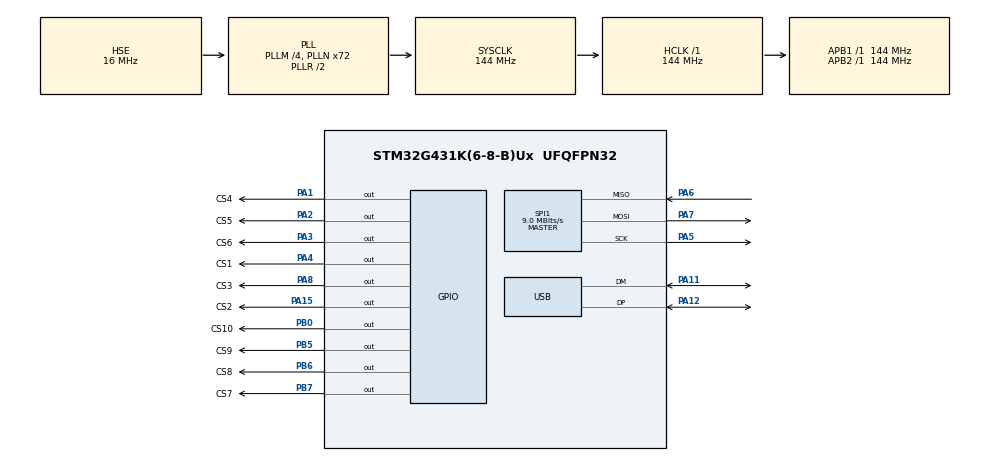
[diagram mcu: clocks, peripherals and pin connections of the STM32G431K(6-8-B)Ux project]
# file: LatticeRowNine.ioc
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Mcu.Family=STM32G4
Mcu.Name=STM32G431K(6-8-B)Ux
Mcu.Package=UFQFPN32
NVIC.PriorityGroup=NVIC_PRIORITYGROUP_4
NVIC.USB_LP_IRQn=true\:0\:0\:false\:false\:true\:false\:true\:true
PA1.GPIO_Label=CS4
PA1.GPIO_Speed=GPIO_SPEED_FREQ_VERY_HIGH
PA1.PinState=GPIO_PIN_SET
PA1.Signal=GPIO_Output
PA11.Mode=Device
PA11.Signal=USB_DM
PA12.Mode=Device
PA12.Signal=USB_DP
PA13.Mode=Trace_Asynchronous_SW
PA13.Signal=SYS_JTMS-SWDIO
PA14.Mode=Trace_Asynchronous_SW
PA14.Signal=SYS_JTCK-SWCLK
PA15.GPIO_Label=CS2
PA15.GPIO_Speed=GPIO_SPEED_FREQ_VERY_HIGH
PA15.PinState=GPIO_PIN_SET
PA15.Signal=GPIO_Output
PA2.GPIO_Label=CS5
PA2.GPIO_Speed=GPIO_SPEED_FREQ_VERY_HIGH
PA2.PinState=GPIO_PIN_SET
PA2.Signal=GPIO_Output
PA3.GPIO_Label=CS6
PA3.GPIO_Speed=GPIO_SPEED_FREQ_VERY_HIGH
PA3.PinState=GPIO_PIN_SET
PA3.Signal=GPIO_Output
PA4.GPIO_Label=CS1
PA4.GPIO_Speed=GPIO_SPEED_FREQ_VERY_HIGH
PA4.PinState=GPIO_PIN_SET
PA4.Signal=GPIO_Output
PA5.GPIO_Speed=GPIO_SPEED_FREQ_VERY_HIGH
PA5.Mode=Full_Duplex_Master
PA5.Signal=SPI1_SCK
PA6.GPIO_Speed=GPIO_SPEED_FREQ_VERY_HIGH
PA6.Mode=Full_Duplex_Master
PA6.Signal=SPI1_MISO
PA7.GPIO_Speed=GPIO_SPEED_FREQ_VERY_HIGH
PA7.Mode=Full_Duplex_Master
PA7.Signal=SPI1_MOSI
PA8.GPIO_Label=CS3
PA8.GPIO_Speed=GPIO_SPEED_FREQ_VERY_HIGH
PA8.PinState=GPIO_PIN_SET
PA8.Signal=GPIO_Output
PB0.GPIO_Label=CS10
PB0.GPIO_Speed=GPIO_SPEED_FREQ_VERY_HIGH
PB0.PinState=GPIO_PIN_SET
PB0.Signal=GPIO_Output
PB3.Mode=Trace_Asynchronous_SW
PB3.Signal=SYS_JTDO-SWO
PB5.GPIO_Label=CS9
PB5.GPIO_Speed=GPIO_SPEED_FREQ_VERY_HIGH
PB5.PinState=GPIO_PIN_SET
PB5.Signal=GPIO_Output
PB6.GPIO_Label=CS8
PB6.GPIO_Speed=GPIO_SPEED_FREQ_VERY_HIGH
PB6.PinState=GPIO_PIN_SET
PB6.Signal=GPIO_Output
PB7.GPIO_Label=CS7
PB7.GPIO_Speed=GPIO_SPEED_FREQ_VERY_HIGH
PB7.PinState=GPIO_PIN_SET
PB7.Signal=GPIO_Output
PF0-OSC_IN.Mode=HSE-External-Oscillator
PF0-OSC_IN.Signal=RCC_OSC_IN
PF1-OSC_OUT.Mode=HSE-External-Oscillator
PF1-OSC_OUT.Signal=RCC_OSC_OUT
ProjectManager.HeapSize=0x200
ProjectManager.StackSize=0x400
ProjectManager.TargetToolchain=STM32CubeIDE
RCC.ADC12Freq_Value=144000000
RCC.AHBFreq_Value=144000000
RCC.APB1Freq_Value=144000000
RCC.APB1TimFreq_Value=144000000
RCC.APB2Freq_Value=144000000
RCC.APB2TimFreq_Value=144000000
RCC.CortexFreq_Value=144000000
RCC.EXTERNAL_CLOCK_VALUE=12288000
RCC.HCLKFreq_Value=144000000
RCC.HSE_VALUE=16000000
RCC.HSI48_VALUE=48000000
RCC.HSI_VALUE=16000000
RCC.LSE_VALUE=32768
RCC.PLLM=RCC_PLLM_DIV4
RCC.PLLN=72
RCC.PLLQ=RCC_PLLQ_DIV6
RCC.PLLSourceVirtual=RCC_PLLSOURCE_HSE
RCC.SYSCLKFreq_VALUE=144000000
RCC.SYSCLKSource=RCC_SYSCLKSOURCE_PLLCLK
RCC.USBFreq_Value=48000000
RCC.VCOOutputFreq_Value=288000000
SPI1.BaudRatePrescaler=SPI_BAUDRATEPRESCALER_16
SPI1.CalculateBaudRate=9.0 MBits/s
SPI1.DataSize=SPI_DATASIZE_8BIT
SPI1.Direction=SPI_DIRECTION_2LINES
SPI1.Mode=SPI_MODE_MASTER
SPI1.VirtualType=VM_MASTER
USB_DEVICE.CLASS_NAME_FS=CDC
USB_DEVICE.PRODUCT_STRING_CDC_FS=lattice-row-nine
USB_DEVICE.VirtualMode=Cdc
USB_DEVICE.VirtualModeFS=Cdc_FS
VP_SYS_VS_DBSignals.Mode=DisableDeadBatterySignals
VP_USB_DEVICE_VS_USB_DEVICE_CDC_FS.Mode=CDC_FS
board=custom

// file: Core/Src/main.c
/* USER CODE BEGIN Header */
/**
 ******************************************************************************
 * @file           : main.c
 * @brief          : Main program body
 ******************************************************************************
 * @attention
 *
 * Copyright (c) 2024 STMicroelectronics.
 * All rights reserved.
 *
 * This software is licensed under terms that can be found in the LICENSE file
 * in the root directory of this software component.
 * If no LICENSE file comes with this software, it is provided AS-IS.
 *
 ******************************************************************************
 */
/* USER CODE END Header */
#include "main.h"
#include "usb_device.h"

/* USER CODE BEGIN Includes */
#include "usbd_cdc_if.h"
#include "string.h"
/* USER CODE END Includes */

SPI_HandleTypeDef hspi1;

void SystemClock_Config(void);
static void MX_GPIO_Init(void);
static void MX_SPI1_Init(void);

/* USER CODE BEGIN 0 */
#define LPS22HH_ADDRESS            0xBA

#define LPS22HH_DEVICE_NAME        0b10110011

#define LPS22HH_REG_IF_CTRL        0x0E
#define LPS22HH_REG_WHO_AM_I       0x0F
#define LPS22HH_REG_CTRL_REG1      0x10
#define LPS22HH_REG_CTRL_REG2      0x11
#define LPS22HH_REG_CTRL_REG3      0x12
#define LPS22HH_REG_STATUS         0x27
#define LPS22HH_REG_PRESS_OUT_XL   0x28
#define LPS22HH_REG_PRESS_OUT_L    0x29
#define LPS22HH_REG_PRESS_OUT_H    0x2A
#define LPS22HH_REG_TEMP_OUT_L     0x2B
#define LPS22HH_REG_TEMP_OUT_H     0x2C

GPIO_TypeDef *chipSelectPorts[10] = { CS1_GPIO_Port, CS2_GPIO_Port,
CS3_GPIO_Port, CS4_GPIO_Port, CS5_GPIO_Port, CS6_GPIO_Port,
CS7_GPIO_Port,
CS8_GPIO_Port, CS9_GPIO_Port, CS10_GPIO_Port };
uint16_t chipSelectsPins[10] = { CS1_Pin, CS2_Pin, CS3_Pin, CS4_Pin,
CS5_Pin, CS6_Pin, CS7_Pin, CS8_Pin, CS9_Pin, CS10_Pin };

void LPS22HH_WriteReg(uint16_t sel, uint8_t reg, uint8_t data) {
	HAL_GPIO_WritePin(chipSelectPorts[sel], chipSelectsPins[sel],
			GPIO_PIN_RESET);
	HAL_SPI_Transmit(&hspi1, &reg, 1, HAL_MAX_DELAY);
	HAL_SPI_Transmit(&hspi1, &data, 1, HAL_MAX_DELAY);
	HAL_GPIO_WritePin(chipSelectPorts[sel], chipSelectsPins[sel], GPIO_PIN_SET);
}

uint8_t LPS22HH_ReadReg(uint16_t sel, uint8_t reg) {
	uint8_t data = 0;
	uint8_t regRW = 0x80 | reg;
	HAL_GPIO_WritePin(chipSelectPorts[sel], chipSelectsPins[sel],
			GPIO_PIN_RESET);
	HAL_SPI_Transmit(&hspi1, &regRW, 1, HAL_MAX_DELAY);
	HAL_SPI_Receive(&hspi1, &data, 1, HAL_MAX_DELAY);
	HAL_GPIO_WritePin(chipSelectPorts[sel], chipSelectsPins[sel], GPIO_PIN_SET);
	return data;
}

void LPS22HH_ReadRegs(uint16_t sel, uint8_t reg, uint8_t *output, uint16_t len) {
	uint8_t regRW = 0x80 | reg;
	HAL_GPIO_WritePin(chipSelectPorts[sel], chipSelectsPins[sel],
			GPIO_PIN_RESET);
	HAL_SPI_Transmit(&hspi1, &regRW, 1, HAL_MAX_DELAY);
	HAL_SPI_Receive(&hspi1, output, len, HAL_MAX_DELAY);
	HAL_GPIO_WritePin(chipSelectPorts[sel], chipSelectsPins[sel], GPIO_PIN_SET);
}
/* USER CODE END 0 */

int main(void)
{

  /* MCU Configuration--------------------------------------------------------*/

  /* Reset of all peripherals, Initializes the Flash interface and the Systick. */
  HAL_Init();

  /* Configure the system clock */
  SystemClock_Config();

  /* Initialize all configured peripherals */
  MX_GPIO_Init();
  MX_SPI1_Init();
  MX_USB_Device_Init();
  /* USER CODE BEGIN 2 */
	HAL_Delay(100);

	for (uint8_t cs = 0; cs < 10; cs++) {
		uint8_t who_am_i = LPS22HH_ReadReg(cs, LPS22HH_REG_WHO_AM_I);
		if (who_am_i != LPS22HH_DEVICE_NAME) {
			while (1) {
			}
		}

		//configure ODR 200hz
		//disable low pass filter
		LPS22HH_WriteReg(cs, LPS22HH_REG_CTRL_REG1, 0b01110000);
	}
  /* USER CODE END 2 */

  /* Infinite loop */
  /* USER CODE BEGIN WHILE */
	while (1) {
		uint8_t data[50];
		for (uint8_t cs = 0; cs < 10; cs++) {
			uint16_t index = 5 * cs;
			LPS22HH_ReadRegs(cs, LPS22HH_REG_PRESS_OUT_XL, data + index, 3);
			LPS22HH_ReadRegs(cs, LPS22HH_REG_TEMP_OUT_L, data + index + 3, 2);
		}

		CDC_Transmit_FS(data, 50);

		HAL_Delay(5);
    /* USER CODE END WHILE */

	}
}

void SystemClock_Config(void)
{
  RCC_OscInitTypeDef RCC_OscInitStruct = {0};
  RCC_ClkInitTypeDef RCC_ClkInitStruct = {0};

  /** Configure the main internal regulator output voltage
  */
  HAL_PWREx_ControlVoltageScaling(PWR_REGULATOR_VOLTAGE_SCALE1);

  /** Initializes the RCC Oscillators according to the specified parameters
  * in the RCC_OscInitTypeDef structure.
  */
  RCC_OscInitStruct.OscillatorType = RCC_OSCILLATORTYPE_HSE;
  RCC_OscInitStruct.HSEState = RCC_HSE_ON;
  RCC_OscInitStruct.PLL.PLLState = RCC_PLL_ON;
  RCC_OscInitStruct.PLL.PLLSource = RCC_PLLSOURCE_HSE;
  RCC_OscInitStruct.PLL.PLLM = RCC_PLLM_DIV4;
  RCC_OscInitStruct.PLL.PLLN = 72;
  RCC_OscInitStruct.PLL.PLLP = RCC_PLLP_DIV2;
  RCC_OscInitStruct.PLL.PLLQ = RCC_PLLQ_DIV6;
  RCC_OscInitStruct.PLL.PLLR = RCC_PLLR_DIV2;
  if (HAL_RCC_OscConfig(&RCC_OscInitStruct) != HAL_OK)
  {
    Error_Handler();
  }

  /** Initializes the CPU, AHB and APB buses clocks
  */
  RCC_ClkInitStruct.ClockType = RCC_CLOCKTYPE_HCLK|RCC_CLOCKTYPE_SYSCLK
                              |RCC_CLOCKTYPE_PCLK1|RCC_CLOCKTYPE_PCLK2;
  RCC_ClkInitStruct.SYSCLKSource = RCC_SYSCLKSOURCE_PLLCLK;
  RCC_ClkInitStruct.AHBCLKDivider = RCC_SYSCLK_DIV1;
  RCC_ClkInitStruct.APB1CLKDivider = RCC_HCLK_DIV1;
  RCC_ClkInitStruct.APB2CLKDivider = RCC_HCLK_DIV1;

  if (HAL_RCC_ClockConfig(&RCC_ClkInitStruct, FLASH_LATENCY_4) != HAL_OK)
  {
    Error_Handler();
  }
}

static void MX_SPI1_Init(void)
{

  /* SPI1 parameter configuration*/
  hspi1.Instance = SPI1;
  hspi1.Init.Mode = SPI_MODE_MASTER;
  hspi1.Init.Direction = SPI_DIRECTION_2LINES;
  hspi1.Init.DataSize = SPI_DATASIZE_8BIT;
  hspi1.Init.CLKPolarity = SPI_POLARITY_LOW;
  hspi1.Init.CLKPhase = SPI_PHASE_1EDGE;
  hspi1.Init.NSS = SPI_NSS_SOFT;
  hspi1.Init.BaudRatePrescaler = SPI_BAUDRATEPRESCALER_16;
  hspi1.Init.FirstBit = SPI_FIRSTBIT_MSB;
  hspi1.Init.TIMode = SPI_TIMODE_DISABLE;
  hspi1.Init.CRCCalculation = SPI_CRCCALCULATION_DISABLE;
  hspi1.Init.CRCPolynomial = 7;
  hspi1.Init.CRCLength = SPI_CRC_LENGTH_DATASIZE;
  hspi1.Init.NSSPMode = SPI_NSS_PULSE_ENABLE;
  if (HAL_SPI_Init(&hspi1) != HAL_OK)
  {
    Error_Handler();
  }

}

static void MX_GPIO_Init(void)
{
  GPIO_InitTypeDef GPIO_InitStruct = {0};

  /* GPIO Ports Clock Enable */
  __HAL_RCC_GPIOF_CLK_ENABLE();
  __HAL_RCC_GPIOA_CLK_ENABLE();
  __HAL_RCC_GPIOB_CLK_ENABLE();

  /*Configure GPIO pin Output Level */
  HAL_GPIO_WritePin(GPIOA, CS4_Pin|CS5_Pin|CS6_Pin|CS1_Pin
                          |CS3_Pin|CS2_Pin, GPIO_PIN_SET);

  /*Configure GPIO pin Output Level */
  HAL_GPIO_WritePin(GPIOB, CS10_Pin|CS9_Pin|CS8_Pin|CS7_Pin, GPIO_PIN_SET);

  /*Configure GPIO pins : CS4_Pin CS5_Pin CS6_Pin CS1_Pin
                           CS3_Pin CS2_Pin */
  GPIO_InitStruct.Pin = CS4_Pin|CS5_Pin|CS6_Pin|CS1_Pin
                          |CS3_Pin|CS2_Pin;
  GPIO_InitStruct.Mode = GPIO_MODE_OUTPUT_PP;
  GPIO_InitStruct.Pull = GPIO_NOPULL;
  GPIO_InitStruct.Speed = GPIO_SPEED_FREQ_VERY_HIGH;
  HAL_GPIO_Init(GPIOA, &GPIO_InitStruct);

  /*Configure GPIO pins : CS10_Pin CS9_Pin CS8_Pin CS7_Pin */
  GPIO_InitStruct.Pin = CS10_Pin|CS9_Pin|CS8_Pin|CS7_Pin;
  GPIO_InitStruct.Mode = GPIO_MODE_OUTPUT_PP;
  GPIO_InitStruct.Pull = GPIO_NOPULL;
  GPIO_InitStruct.Speed = GPIO_SPEED_FREQ_VERY_HIGH;
  HAL_GPIO_Init(GPIOB, &GPIO_InitStruct);

}

void Error_Handler(void)
{
	__disable_irq();
	while (1) {
	}
}
